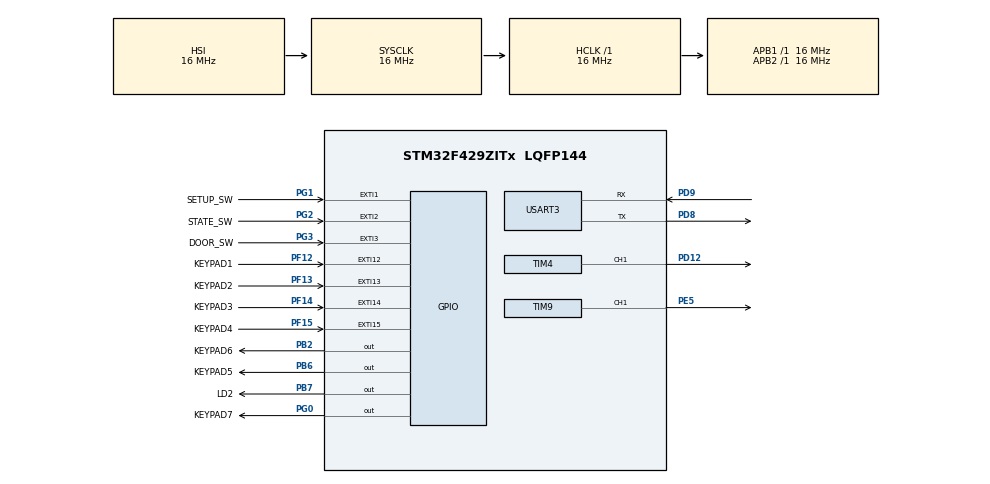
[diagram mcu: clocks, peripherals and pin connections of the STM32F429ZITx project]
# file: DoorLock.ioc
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Mcu.Family=STM32F4
Mcu.Name=STM32F429ZITx
Mcu.Package=LQFP144
NVIC.EXTI15_10_IRQn=true\:0\:0\:false\:true\:true\:2\:true\:true\:true
NVIC.EXTI1_IRQn=true\:0\:0\:false\:true\:true\:8\:true\:true\:true
NVIC.EXTI2_IRQn=true\:0\:0\:false\:true\:true\:5\:true\:true\:true
NVIC.EXTI3_IRQn=true\:0\:0\:false\:true\:true\:7\:true\:true\:true
NVIC.PriorityGroup=NVIC_PRIORITYGROUP_4
NVIC.TIM1_UP_TIM10_IRQn=true\:0\:0\:false\:true\:true\:9\:true\:true\:true
NVIC.TIM2_IRQn=true\:0\:0\:false\:true\:true\:4\:true\:true\:true
NVIC.TIM3_IRQn=true\:0\:0\:false\:true\:true\:1\:true\:true\:true
NVIC.TIM5_IRQn=true\:0\:0\:false\:true\:true\:6\:true\:true\:true
NVIC.USART3_IRQn=true\:0\:0\:false\:true\:true\:3\:true\:true\:true
PB2/BOOT1.GPIO_Label=KEYPAD6
PB2/BOOT1.GPIO_ModeDefaultOutputPP=GPIO_MODE_OUTPUT_PP
PB2/BOOT1.GPIO_PuPd=GPIO_NOPULL
PB2/BOOT1.PinState=GPIO_PIN_SET
PB2/BOOT1.Signal=GPIO_Output
PB6.GPIO_Label=KEYPAD5
PB6.PinState=GPIO_PIN_SET
PB6.Signal=GPIO_Output
PB7.GPIO_Label=LD2
PB7.Signal=GPIO_Output
PD12.Signal=S_TIM4_CH1
PD8.Mode=Asynchronous
PD8.Signal=USART3_TX
PD9.Mode=Asynchronous
PD9.Signal=USART3_RX
PE5.Signal=S_TIM9_CH1
PF12.GPIO_Label=KEYPAD1
PF12.GPIO_ModeDefaultEXTI=GPIO_MODE_IT_FALLING
PF12.GPIO_PuPd=GPIO_PULLUP
PF12.Signal=GPXTI12
PF13.GPIO_Label=KEYPAD2
PF13.GPIO_ModeDefaultEXTI=GPIO_MODE_IT_FALLING
PF13.GPIO_PuPd=GPIO_PULLUP
PF13.Signal=GPXTI13
PF14.GPIO_Label=KEYPAD3
PF14.GPIO_ModeDefaultEXTI=GPIO_MODE_IT_FALLING
PF14.GPIO_PuPd=GPIO_PULLUP
PF14.Signal=GPXTI14
PF15.GPIO_Label=KEYPAD4
PF15.GPIO_ModeDefaultEXTI=GPIO_MODE_IT_FALLING
PF15.GPIO_PuPd=GPIO_PULLUP
PF15.Signal=GPXTI15
PG0.GPIO_Label=KEYPAD7
PG0.PinState=GPIO_PIN_SET
PG0.Signal=GPIO_Output
PG1.GPIO_Label=SETUP_SW
PG1.GPIO_ModeDefaultEXTI=GPIO_MODE_IT_FALLING
PG1.GPIO_PuPd=GPIO_PULLUP
PG1.Signal=GPXTI1
PG2.GPIO_Label=STATE_SW
PG2.GPIO_ModeDefaultEXTI=GPIO_MODE_IT_RISING_FALLING
PG2.GPIO_PuPd=GPIO_PULLUP
PG2.Signal=GPXTI2
PG3.GPIO_Label=DOOR_SW
PG3.GPIO_ModeDefaultEXTI=GPIO_MODE_IT_FALLING
PG3.GPIO_PuPd=GPIO_PULLUP
PG3.Signal=GPXTI3
ProjectManager.HeapSize=0x200
ProjectManager.StackSize=0x400
ProjectManager.TargetToolchain=STM32CubeIDE
RCC.AHBFreq_Value=16000000
RCC.APB1Freq_Value=16000000
RCC.APB2Freq_Value=16000000
RCC.CortexFreq_Value=16000000
RCC.HSE_VALUE=25000000
RCC.HSI_VALUE=16000000
RCC.LSE_VALUE=32768
RCC.SYSCLKFreq_VALUE=16000000
RCC.VCOOutputFreq_Value=192000000
SH.S_TIM4_CH1.0=TIM4_CH1,PWM Generation1 CH1
SH.S_TIM9_CH1.0=TIM9_CH1,PWM Generation1 CH1
TIM10.Period=499
TIM10.Prescaler=15999
TIM2.Period=4999
TIM2.Prescaler=15999
TIM2.TIM_MasterOutputTrigger=TIM_TRGO_UPDATE
TIM3.Period=4999
TIM3.Prescaler=159
TIM3.TIM_MasterOutputTrigger=TIM_TRGO_UPDATE
TIM4.Channel-PWM\ Generation1\ CH1=TIM_CHANNEL_1
TIM4.Period=19999
TIM4.Prescaler=15
TIM4.Pulse-PWM\ Generation1\ CH1=499
TIM5.Period=1999
TIM5.Prescaler=15999
TIM5.TIM_MasterOutputTrigger=TIM_TRGO_UPDATE
TIM9.Channel-PWM\ Generation1\ CH1=TIM_CHANNEL_1
TIM9.Period=1999
TIM9.Prescaler=15
USART3.VirtualMode=VM_ASYNC
VP_TIM10_VS_ClockSourceINT.Mode=Enable_Timer
VP_TIM2_VS_ClockSourceINT.Mode=Internal
VP_TIM3_VS_ClockSourceINT.Mode=Internal
VP_TIM4_VS_ClockSourceINT.Mode=Internal
VP_TIM5_VS_ClockSourceINT.Mode=Internal
VP_TIM9_VS_ClockSourceINT.Mode=Internal
board=custom

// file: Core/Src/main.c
/* USER CODE BEGIN Header */
/**
  ******************************************************************************
  * @file           : main.c
  * @brief          : Main program body
  ******************************************************************************
  * @attention
  *
  * Copyright (c) 2024 STMicroelectronics.
  * All rights reserved.
  *
  * This software is licensed under terms that can be found in the LICENSE file
  * in the root directory of this software component.
  * If no LICENSE file comes with this software, it is provided AS-IS.
  *
  ******************************************************************************
  */
/* USER CODE END Header */
#include "main.h"

/* USER CODE BEGIN Includes */
#include <stdio.h>
#include <string.h>
/* USER CODE END Includes */

/* USER CODE BEGIN PTD */
#define STATE1	0
#define STATE2	1
#define STATE3	2

#define DEBOUNCE_DELAY	200
/* USER CODE END PTD */

TIM_HandleTypeDef htim2;
TIM_HandleTypeDef htim3;
TIM_HandleTypeDef htim4;
TIM_HandleTypeDef htim5;
TIM_HandleTypeDef htim9;
TIM_HandleTypeDef htim10;

UART_HandleTypeDef huart3;

/* USER CODE BEGIN PV */
uint8_t state = STATE1;
uint8_t chk = 0;

char tx_buf[50];
char num = '\0';

char password[9] = "12345678";
char input_pw[9] = "";
uint8_t pw_index = 0;

uint8_t is_door_lock = 1;
uint8_t is_door_open = 0;
uint8_t is_door_really_open = 0;
uint8_t setup_pw = 0;
char new_pw[9] = "";

//enum scale {
//	C5 = 1911,
//	E5 = 1517,
//	G5 = 1276
//};
//const uint16_t open_bell[] = {C5, E5, G5};
//uint16_t bell_index = 0;

//uint8_t rx_index = 0, rx_buf[20];
//uint8_t rx_data = 0, rx_complete = 0;
/* USER CODE END PV */

void SystemClock_Config(void);
static void MX_GPIO_Init(void);
static void MX_TIM3_Init(void);
static void MX_USART3_UART_Init(void);
static void MX_TIM4_Init(void);
static void MX_TIM2_Init(void);
static void MX_TIM5_Init(void);
static void MX_TIM9_Init(void);
static void MX_TIM10_Init(void);
static void MX_NVIC_Init(void);

int main(void)
{

  /* MCU Configuration--------------------------------------------------------*/

  /* Reset of all peripherals, Initializes the Flash interface and the Systick. */
  HAL_Init();

  /* Configure the system clock */
  SystemClock_Config();

  /* Initialize all configured peripherals */
  MX_GPIO_Init();
  MX_TIM3_Init();
  MX_USART3_UART_Init();
  MX_TIM4_Init();
  MX_TIM2_Init();
  MX_TIM5_Init();
  MX_TIM9_Init();
  MX_TIM10_Init();

  /* Initialize interrupts */
  MX_NVIC_Init();
  /* USER CODE BEGIN 2 */
  HAL_TIM_Base_Start_IT(&htim3);
  HAL_TIM_PWM_Start(&htim4, TIM_CHANNEL_1);
//  HAL_UART_Receive_IT(&huart3, &rx_data, 1);
  /* USER CODE END 2 */

  /* Infinite loop */
  /* USER CODE BEGIN WHILE */
  while (1)
  {
//	  if(rx_complete == 1) {
//		  rx_complete = 0;
//
//		  if(strstr((char*)rx_buf, "OPEN") != 0) {
//			  if(rx_buf[4] == '1') {
//				  is_door_open = 1;
//			  }
//			  else if(rx_buf[4] == '0') {
//				  is_door_open = 0;
//			  }
//		  }
//		  else if(strstr((char*)rx_buf, "LOCK") != 0) {
//			  if(rx_buf[4] = '1') {
//				  is_door_lock = 1;
//			  }
//			  else if(rx_buf[4] = '0') {
//				  is_door_lock = 0;
//			  }
//		  }
//	  }
    /* USER CODE END WHILE */

  }
}

void SystemClock_Config(void)
{
  RCC_OscInitTypeDef RCC_OscInitStruct = {0};
  RCC_ClkInitTypeDef RCC_ClkInitStruct = {0};

  /** Configure the main internal regulator output voltage
  */
  __HAL_RCC_PWR_CLK_ENABLE();
  __HAL_PWR_VOLTAGESCALING_CONFIG(PWR_REGULATOR_VOLTAGE_SCALE3);

  /** Initializes the RCC Oscillators according to the specified parameters
  * in the RCC_OscInitTypeDef structure.
  */
  RCC_OscInitStruct.OscillatorType = RCC_OSCILLATORTYPE_HSI;
  RCC_OscInitStruct.HSIState = RCC_HSI_ON;
  RCC_OscInitStruct.HSICalibrationValue = RCC_HSICALIBRATION_DEFAULT;
  RCC_OscInitStruct.PLL.PLLState = RCC_PLL_NONE;
  if (HAL_RCC_OscConfig(&RCC_OscInitStruct) != HAL_OK)
  {
    Error_Handler();
  }

  /** Initializes the CPU, AHB and APB buses clocks
  */
  RCC_ClkInitStruct.ClockType = RCC_CLOCKTYPE_HCLK|RCC_CLOCKTYPE_SYSCLK
                              |RCC_CLOCKTYPE_PCLK1|RCC_CLOCKTYPE_PCLK2;
  RCC_ClkInitStruct.SYSCLKSource = RCC_SYSCLKSOURCE_HSI;
  RCC_ClkInitStruct.AHBCLKDivider = RCC_SYSCLK_DIV1;
  RCC_ClkInitStruct.APB1CLKDivider = RCC_HCLK_DIV1;
  RCC_ClkInitStruct.APB2CLKDivider = RCC_HCLK_DIV1;

  if (HAL_RCC_ClockConfig(&RCC_ClkInitStruct, FLASH_LATENCY_0) != HAL_OK)
  {
    Error_Handler();
  }
}

/**
  * @brief NVIC Configuration.
  * @retval None
  */
static void MX_NVIC_Init(void)
{
  /* TIM3_IRQn interrupt configuration */
  HAL_NVIC_SetPriority(TIM3_IRQn, 0, 0);
  HAL_NVIC_EnableIRQ(TIM3_IRQn);
  /* EXTI15_10_IRQn interrupt configuration */
  HAL_NVIC_SetPriority(EXTI15_10_IRQn, 0, 0);
  HAL_NVIC_EnableIRQ(EXTI15_10_IRQn);
  /* USART3_IRQn interrupt configuration */
  HAL_NVIC_SetPriority(USART3_IRQn, 0, 0);
  HAL_NVIC_EnableIRQ(USART3_IRQn);
  /* TIM2_IRQn interrupt configuration */
  HAL_NVIC_SetPriority(TIM2_IRQn, 0, 0);
  HAL_NVIC_EnableIRQ(TIM2_IRQn);
  /* EXTI2_IRQn interrupt configuration */
  HAL_NVIC_SetPriority(EXTI2_IRQn, 0, 0);
  HAL_NVIC_EnableIRQ(EXTI2_IRQn);
  /* TIM5_IRQn interrupt configuration */
  HAL_NVIC_SetPriority(TIM5_IRQn, 0, 0);
  HAL_NVIC_EnableIRQ(TIM5_IRQn);
  /* EXTI3_IRQn interrupt configuration */
  HAL_NVIC_SetPriority(EXTI3_IRQn, 0, 0);
  HAL_NVIC_EnableIRQ(EXTI3_IRQn);
  /* EXTI1_IRQn interrupt configuration */
  HAL_NVIC_SetPriority(EXTI1_IRQn, 0, 0);
  HAL_NVIC_EnableIRQ(EXTI1_IRQn);
  /* TIM1_UP_TIM10_IRQn interrupt configuration */
  HAL_NVIC_SetPriority(TIM1_UP_TIM10_IRQn, 0, 0);
  HAL_NVIC_EnableIRQ(TIM1_UP_TIM10_IRQn);
}

static void MX_TIM2_Init(void)
{

  TIM_ClockConfigTypeDef sClockSourceConfig = {0};
  TIM_MasterConfigTypeDef sMasterConfig = {0};

  htim2.Instance = TIM2;
  htim2.Init.Prescaler = 15999;
  htim2.Init.CounterMode = TIM_COUNTERMODE_UP;
  htim2.Init.Period = 4999;
  htim2.Init.ClockDivision = TIM_CLOCKDIVISION_DIV1;
  htim2.Init.AutoReloadPreload = TIM_AUTORELOAD_PRELOAD_DISABLE;
  if (HAL_TIM_Base_Init(&htim2) != HAL_OK)
  {
    Error_Handler();
  }
  sClockSourceConfig.ClockSource = TIM_CLOCKSOURCE_INTERNAL;
  if (HAL_TIM_ConfigClockSource(&htim2, &sClockSourceConfig) != HAL_OK)
  {
    Error_Handler();
  }
  sMasterConfig.MasterOutputTrigger = TIM_TRGO_UPDATE;
  sMasterConfig.MasterSlaveMode = TIM_MASTERSLAVEMODE_DISABLE;
  if (HAL_TIMEx_MasterConfigSynchronization(&htim2, &sMasterConfig) != HAL_OK)
  {
    Error_Handler();
  }

}

static void MX_TIM3_Init(void)
{

  TIM_ClockConfigTypeDef sClockSourceConfig = {0};
  TIM_MasterConfigTypeDef sMasterConfig = {0};

  htim3.Instance = TIM3;
  htim3.Init.Prescaler = 159;
  htim3.Init.CounterMode = TIM_COUNTERMODE_UP;
  htim3.Init.Period = 4999;
  htim3.Init.ClockDivision = TIM_CLOCKDIVISION_DIV1;
  htim3.Init.AutoReloadPreload = TIM_AUTORELOAD_PRELOAD_DISABLE;
  if (HAL_TIM_Base_Init(&htim3) != HAL_OK)
  {
    Error_Handler();
  }
  sClockSourceConfig.ClockSource = TIM_CLOCKSOURCE_INTERNAL;
  if (HAL_TIM_ConfigClockSource(&htim3, &sClockSourceConfig) != HAL_OK)
  {
    Error_Handler();
  }
  sMasterConfig.MasterOutputTrigger = TIM_TRGO_UPDATE;
  sMasterConfig.MasterSlaveMode = TIM_MASTERSLAVEMODE_DISABLE;
  if (HAL_TIMEx_MasterConfigSynchronization(&htim3, &sMasterConfig) != HAL_OK)
  {
    Error_Handler();
  }

}

static void MX_TIM4_Init(void)
{

  TIM_ClockConfigTypeDef sClockSourceConfig = {0};
  TIM_MasterConfigTypeDef sMasterConfig = {0};
  TIM_OC_InitTypeDef sConfigOC = {0};

  htim4.Instance = TIM4;
  htim4.Init.Prescaler = 15;
  htim4.Init.CounterMode = TIM_COUNTERMODE_UP;
  htim4.Init.Period = 19999;
  htim4.Init.ClockDivision = TIM_CLOCKDIVISION_DIV1;
  htim4.Init.AutoReloadPreload = TIM_AUTORELOAD_PRELOAD_DISABLE;
  if (HAL_TIM_Base_Init(&htim4) != HAL_OK)
  {
    Error_Handler();
  }
  sClockSourceConfig.ClockSource = TIM_CLOCKSOURCE_INTERNAL;
  if (HAL_TIM_ConfigClockSource(&htim4, &sClockSourceConfig) != HAL_OK)
  {
    Error_Handler();
  }
  if (HAL_TIM_PWM_Init(&htim4) != HAL_OK)
  {
    Error_Handler();
  }
  sMasterConfig.MasterOutputTrigger = TIM_TRGO_RESET;
  sMasterConfig.MasterSlaveMode = TIM_MASTERSLAVEMODE_DISABLE;
  if (HAL_TIMEx_MasterConfigSynchronization(&htim4, &sMasterConfig) != HAL_OK)
  {
    Error_Handler();
  }
  sConfigOC.OCMode = TIM_OCMODE_PWM1;
  sConfigOC.Pulse = 499;
  sConfigOC.OCPolarity = TIM_OCPOLARITY_HIGH;
  sConfigOC.OCFastMode = TIM_OCFAST_DISABLE;
  if (HAL_TIM_PWM_ConfigChannel(&htim4, &sConfigOC, TIM_CHANNEL_1) != HAL_OK)
  {
    Error_Handler();
  }
  HAL_TIM_MspPostInit(&htim4);

}

static void MX_TIM5_Init(void)
{

  TIM_ClockConfigTypeDef sClockSourceConfig = {0};
  TIM_MasterConfigTypeDef sMasterConfig = {0};

  htim5.Instance = TIM5;
  htim5.Init.Prescaler = 15999;
  htim5.Init.CounterMode = TIM_COUNTERMODE_UP;
  htim5.Init.Period = 1999;
  htim5.Init.ClockDivision = TIM_CLOCKDIVISION_DIV1;
  htim5.Init.AutoReloadPreload = TIM_AUTORELOAD_PRELOAD_DISABLE;
  if (HAL_TIM_Base_Init(&htim5) != HAL_OK)
  {
    Error_Handler();
  }
  sClockSourceConfig.ClockSource = TIM_CLOCKSOURCE_INTERNAL;
  if (HAL_TIM_ConfigClockSource(&htim5, &sClockSourceConfig) != HAL_OK)
  {
    Error_Handler();
  }
  sMasterConfig.MasterOutputTrigger = TIM_TRGO_UPDATE;
  sMasterConfig.MasterSlaveMode = TIM_MASTERSLAVEMODE_DISABLE;
  if (HAL_TIMEx_MasterConfigSynchronization(&htim5, &sMasterConfig) != HAL_OK)
  {
    Error_Handler();
  }

}

static void MX_TIM9_Init(void)
{

  TIM_ClockConfigTypeDef sClockSourceConfig = {0};
  TIM_OC_InitTypeDef sConfigOC = {0};

  htim9.Instance = TIM9;
  htim9.Init.Prescaler = 15;
  htim9.Init.CounterMode = TIM_COUNTERMODE_UP;
  htim9.Init.Period = 1999;
  htim9.Init.ClockDivision = TIM_CLOCKDIVISION_DIV1;
  htim9.Init.AutoReloadPreload = TIM_AUTORELOAD_PRELOAD_DISABLE;
  if (HAL_TIM_Base_Init(&htim9) != HAL_OK)
  {
    Error_Handler();
  }
  sClockSourceConfig.ClockSource = TIM_CLOCKSOURCE_INTERNAL;
  if (HAL_TIM_ConfigClockSource(&htim9, &sClockSourceConfig) != HAL_OK)
  {
    Error_Handler();
  }
  if (HAL_TIM_PWM_Init(&htim9) != HAL_OK)
  {
    Error_Handler();
  }
  sConfigOC.OCMode = TIM_OCMODE_PWM1;
  sConfigOC.Pulse = 0;
  sConfigOC.OCPolarity = TIM_OCPOLARITY_HIGH;
  sConfigOC.OCFastMode = TIM_OCFAST_DISABLE;
  if (HAL_TIM_PWM_ConfigChannel(&htim9, &sConfigOC, TIM_CHANNEL_1) != HAL_OK)
  {
    Error_Handler();
  }
  HAL_TIM_MspPostInit(&htim9);

}

static void MX_TIM10_Init(void)
{

  htim10.Instance = TIM10;
  htim10.Init.Prescaler = 15999;
  htim10.Init.CounterMode = TIM_COUNTERMODE_UP;
  htim10.Init.Period = 499;
  htim10.Init.ClockDivision = TIM_CLOCKDIVISION_DIV1;
  htim10.Init.AutoReloadPreload = TIM_AUTORELOAD_PRELOAD_DISABLE;
  if (HAL_TIM_Base_Init(&htim10) != HAL_OK)
  {
    Error_Handler();
  }

}

static void MX_USART3_UART_Init(void)
{

  huart3.Instance = USART3;
  huart3.Init.BaudRate = 115200;
  huart3.Init.WordLength = UART_WORDLENGTH_8B;
  huart3.Init.StopBits = UART_STOPBITS_1;
  huart3.Init.Parity = UART_PARITY_NONE;
  huart3.Init.Mode = UART_MODE_TX_RX;
  huart3.Init.HwFlowCtl = UART_HWCONTROL_NONE;
  huart3.Init.OverSampling = UART_OVERSAMPLING_16;
  if (HAL_UART_Init(&huart3) != HAL_OK)
  {
    Error_Handler();
  }

}

static void MX_GPIO_Init(void)
{
  GPIO_InitTypeDef GPIO_InitStruct = {0};

  /* GPIO Ports Clock Enable */
  __HAL_RCC_GPIOE_CLK_ENABLE();
  __HAL_RCC_GPIOB_CLK_ENABLE();
  __HAL_RCC_GPIOF_CLK_ENABLE();
  __HAL_RCC_GPIOG_CLK_ENABLE();
  __HAL_RCC_GPIOD_CLK_ENABLE();

  /*Configure GPIO pin Output Level */
  HAL_GPIO_WritePin(GPIOB, KEYPAD6_Pin|KEYPAD5_Pin, GPIO_PIN_SET);

  /*Configure GPIO pin Output Level */
  HAL_GPIO_WritePin(KEYPAD7_GPIO_Port, KEYPAD7_Pin, GPIO_PIN_SET);

  /*Configure GPIO pin Output Level */
  HAL_GPIO_WritePin(LD2_GPIO_Port, LD2_Pin, GPIO_PIN_RESET);

  /*Configure GPIO pins : KEYPAD6_Pin KEYPAD5_Pin LD2_Pin */
  GPIO_InitStruct.Pin = KEYPAD6_Pin|KEYPAD5_Pin|LD2_Pin;
  GPIO_InitStruct.Mode = GPIO_MODE_OUTPUT_PP;
  GPIO_InitStruct.Pull = GPIO_NOPULL;
  GPIO_InitStruct.Speed = GPIO_SPEED_FREQ_LOW;
  HAL_GPIO_Init(GPIOB, &GPIO_InitStruct);

  /*Configure GPIO pins : KEYPAD1_Pin KEYPAD2_Pin KEYPAD3_Pin KEYPAD4_Pin */
  GPIO_InitStruct.Pin = KEYPAD1_Pin|KEYPAD2_Pin|KEYPAD3_Pin|KEYPAD4_Pin;
  GPIO_InitStruct.Mode = GPIO_MODE_IT_FALLING;
  GPIO_InitStruct.Pull = GPIO_PULLUP;
  HAL_GPIO_Init(GPIOF, &GPIO_InitStruct);

  /*Configure GPIO pin : KEYPAD7_Pin */
  GPIO_InitStruct.Pin = KEYPAD7_Pin;
  GPIO_InitStruct.Mode = GPIO_MODE_OUTPUT_PP;
  GPIO_InitStruct.Pull = GPIO_NOPULL;
  GPIO_InitStruct.Speed = GPIO_SPEED_FREQ_LOW;
  HAL_GPIO_Init(KEYPAD7_GPIO_Port, &GPIO_InitStruct);

  /*Configure GPIO pins : SETUP_SW_Pin DOOR_SW_Pin */
  GPIO_InitStruct.Pin = SETUP_SW_Pin|DOOR_SW_Pin;
  GPIO_InitStruct.Mode = GPIO_MODE_IT_FALLING;
  GPIO_InitStruct.Pull = GPIO_PULLUP;
  HAL_GPIO_Init(GPIOG, &GPIO_InitStruct);

  /*Configure GPIO pin : STATE_SW_Pin */
  GPIO_InitStruct.Pin = STATE_SW_Pin;
  GPIO_InitStruct.Mode = GPIO_MODE_IT_RISING_FALLING;
  GPIO_InitStruct.Pull = GPIO_PULLUP;
  HAL_GPIO_Init(STATE_SW_GPIO_Port, &GPIO_InitStruct);

}

/* USER CODE BEGIN 4 */
void HAL_TIM_PeriodElapsedCallback(TIM_HandleTypeDef *htim)
{
	GPIO_PinState KEYPAD1, KEYPAD2, KEYPAD3, KEYPAD4, KEYPAD5, KEYPAD6, KEYPAD7;

	if(htim->Instance == TIM3) {
		if(chk == 0) {		// 스캔
			if(state == STATE1) {
				KEYPAD5 = 0; KEYPAD6 = 1; KEYPAD7 = 1;
				state = STATE2;
			}
			else if(state == STATE2) {
				KEYPAD5 = 1; KEYPAD6 = 0; KEYPAD7 = 1;
				state = STATE3;
			}
			else if(state == STATE3) {
				KEYPAD5 = 1; KEYPAD6 = 1; KEYPAD7 = 0;
				state = STATE1;
			}

			HAL_GPIO_WritePin(KEYPAD5_GPIO_Port, KEYPAD5_Pin, KEYPAD5);
			HAL_GPIO_WritePin(KEYPAD6_GPIO_Port, KEYPAD6_Pin, KEYPAD6);
			HAL_GPIO_WritePin(KEYPAD7_GPIO_Port, KEYPAD7_Pin, KEYPAD7);
		}
		else {
			KEYPAD1 = HAL_GPIO_ReadPin(KEYPAD1_GPIO_Port, KEYPAD1_Pin);
			KEYPAD2 = HAL_GPIO_ReadPin(KEYPAD2_GPIO_Port, KEYPAD2_Pin);
			KEYPAD3 = HAL_GPIO_ReadPin(KEYPAD3_GPIO_Port, KEYPAD3_Pin);
			KEYPAD4 = HAL_GPIO_ReadPin(KEYPAD4_GPIO_Port, KEYPAD4_Pin);

			if(KEYPAD1 == 1 && KEYPAD2 == 1 && KEYPAD3 == 1 && KEYPAD4 == 1) {	// 키가 눌리지 않았을 때
				chk = 0;
			}
		}
	}
	else if(htim->Instance == TIM2) {
		if(is_door_lock == 0 && is_door_open == 0) {
			is_door_lock = 1;
			TIM4->CCR1 = 499;
			sprintf(tx_buf, "\n\r시간 초과로 문이 닫혔습니다.\n\r");
			HAL_UART_Transmit_IT(&huart3, (uint8_t*)tx_buf, strlen(tx_buf));
			HAL_GPIO_WritePin(LD2_GPIO_Port, LD2_Pin, GPIO_PIN_RESET);
		}
		HAL_TIM_Base_Stop_IT(&htim2);
	}
	else if(htim->Instance == TIM5) {
		GPIO_PinState STATE_SW = HAL_GPIO_ReadPin(STATE_SW_GPIO_Port, STATE_SW_Pin);
		if(is_door_open == 1) {
			if(STATE_SW == 0) {
				is_door_really_open = 1;
				sprintf(tx_buf, "\n\r문이 열렸습니다.\n\r");
				HAL_GPIO_WritePin(LD2_GPIO_Port, LD2_Pin, GPIO_PIN_SET);
			}
			else {
				sprintf(tx_buf, "\n\r문이 열리지 않았습니다.\n\r");
			}
		}
		else {
			if(STATE_SW == 1) {
				is_door_really_open = 0;
				sprintf(tx_buf, "\n\r문이 닫혔습니다.\n\r");
				is_door_lock = 1;	// 문 잠금장치 ON
				TIM4->CCR1 = 499;
				HAL_GPIO_WritePin(LD2_GPIO_Port, LD2_Pin, GPIO_PIN_RESET);
			}
			else {
				sprintf(tx_buf, "\n\r문이 닫히지 않았습니다.\n\r");
			}
		}
		HAL_UART_Transmit_IT(&huart3, (uint8_t*)tx_buf, strlen(tx_buf));
		HAL_TIM_Base_Stop_IT(&htim5);
	}
}

void HAL_GPIO_EXTI_Callback(uint16_t GPIO_Pin)
{
	static uint32_t last_interrupt_time;	// 값 유지, 자동으로 0으로 초기화
	uint32_t current_time = HAL_GetTick();

	if((current_time - last_interrupt_time) < DEBOUNCE_DELAY) {
		return;
	}
	last_interrupt_time = current_time;

	chk = 1;	// 스캔 중단하고 눌린 키의 상태 확인

	if(GPIO_Pin == KEYPAD1_Pin) {
		if(state == STATE2) num = '1';
		else if(state == STATE3) num = '2';
		else if(state == STATE1) num = '3';
	}
	else if(GPIO_Pin == KEYPAD2_Pin) {
		if(state == STATE2) num = '4';
		else if(state == STATE3) num = '5';
		else if(state == STATE1) num = '6';
	}
	else if(GPIO_Pin == KEYPAD3_Pin) {
		if(state == STATE2) num = '7';
		else if(state == STATE3) num = '8';
		else if(state == STATE1) num = '9';
	}
	else if(GPIO_Pin == KEYPAD4_Pin) {
		if(state == STATE2) num = '*';
		else if(state == STATE3) num = '0';
		else if(state == STATE1) num = '#';
	}

	if(is_door_open == 1 && GPIO_Pin == SETUP_SW_Pin) {
		setup_pw = 1;
		pw_index = 0;
		sprintf(tx_buf, "\n\r새 비밀번호를 입력하세요.\n\r");
		HAL_UART_Transmit(&huart3, (uint8_t*)tx_buf, strlen(tx_buf), 100);
	}

	if(GPIO_Pin == KEYPAD1_Pin || GPIO_Pin == KEYPAD2_Pin || GPIO_Pin == KEYPAD3_Pin || GPIO_Pin == KEYPAD4_Pin) {
		if(setup_pw == 1) {
			if(num != '*') {
				if(pw_index < 8) {
					new_pw[pw_index++] = num;
					sprintf(tx_buf, "%c", num);
					HAL_UART_Transmit_IT(&huart3, (uint8_t*)tx_buf, strlen(tx_buf));
				}
				else {
					sprintf(tx_buf, "\n\r다시 입력하세요.\n\r");
					HAL_UART_Transmit_IT(&huart3, (uint8_t*)tx_buf, strlen(tx_buf));
					pw_index = 0;
					memset(new_pw, 0, sizeof(new_pw));
				}
			}
			else {
				new_pw[pw_index] = '\0';
				strcpy(password, new_pw);		// 기존 비밀번호를 새 비밀번호로 교체
				sprintf(tx_buf, "\n\r비밀번호가 설정되었습니다.\n\r");
				HAL_UART_Transmit(&huart3, (uint8_t*)tx_buf, strlen(tx_buf), 100);
				setup_pw = 0;	// 비밀번호 설정 모드 비활성화
				pw_index = 0;
			}
		}
		else {
			if(num != '*') {
				if(pw_index < 8) {
					input_pw[pw_index++] = num;
					sprintf(tx_buf, "%c", num);
					HAL_UART_Transmit_IT(&huart3, (uint8_t*)tx_buf, strlen(tx_buf));
				}
				else {
					sprintf(tx_buf, "\n\r비밀번호가 틀렸습니다.\n\r");
					HAL_UART_Transmit_IT(&huart3, (uint8_t*)tx_buf, strlen(tx_buf));
					pw_index = 0;
					memset(input_pw, 0, sizeof(input_pw));
				}
			}
			else {
				input_pw[pw_index] = '\0';

				if(strcmp(input_pw, password) == 0) {
					is_door_lock = 0;		// 문 열림 활성화
					HAL_TIM_Base_Start_IT(&htim2);
					TIM4->CCR1 = 1499;
					sprintf(tx_buf, "\n\r비밀번호가 맞았습니다.\n\r");
				}
				else {
					pw_index = 0;
					memset(input_pw, 0, sizeof(input_pw));
					sprintf(tx_buf, "\n\r비밀번호가 틀렸습니다.\n\r");
				}
				HAL_UART_Transmit_IT(&huart3, (uint8_t*)tx_buf, strlen(tx_buf));
				pw_index = 0;
			}
		}
	}

	if(GPIO_Pin == STATE_SW_Pin) {
		GPIO_PinState STATE_SW = HAL_GPIO_ReadPin(STATE_SW_GPIO_Port, STATE_SW_Pin);

		if(is_door_lock == 0) {		// 문 잠금장치 OFF
			if(STATE_SW == 0) {		// 토글스위치 ON
				is_door_open = 1;	// 문 열림
				HAL_TIM_Base_Start_IT(&htim5);
			}
			else {		// 토글스위치 OFF
				is_door_open = 0;	// 문 닫힘
				HAL_TIM_Base_Start_IT(&htim5);
			}
			HAL_UART_Transmit_IT(&huart3, (uint8_t*)tx_buf, strlen(tx_buf));
		}
		else {		// 문 잠금장치 ON
			sprintf(tx_buf, "\n\r문이 잠겨있습니다.\n\r");
			HAL_UART_Transmit_IT(&huart3, (uint8_t*)tx_buf, strlen(tx_buf));
		}
	}

	if(GPIO_Pin == DOOR_SW_Pin) {
		is_door_lock = !is_door_lock;
		if(is_door_lock == 0) {
			HAL_TIM_Base_Start_IT(&htim2);
			TIM4->CCR1 = 1499;
			sprintf(tx_buf, "\n\rDOOR_SW ON\n\r");
		}
		else {
			TIM4->CCR1 = 499;
			sprintf(tx_buf, "\n\rDOOR_SW OFF\n\r");
		}
		HAL_UART_Transmit_IT(&huart3, (uint8_t*)tx_buf, strlen(tx_buf));
	}
}

//void HAL_UART_RxCpltCallback(UART_HandleTypeDef *huart)
//{
//	if(huart->Instance == USART3) {
//		uint8_t ch;
//		ch = rx_data;
//
//		if(ch == '\n' || ch == '\r') {
//			rx_buf[rx_index] = 0;
//			rx_index = 0;
//			rx_complete = 1;
//
//			char *str = "\r\n>> ";
//			HAL_UART_Transmit_IT(&huart3, (uint8_t*)str, strlen(str));
//		}
//		else if(ch == '\b') {
//			if(rx_index != 0) {
//				rx_index--;
//				char *str = "\b \b";
//				HAL_UART_Transmit_IT(&huart3, (uint8_t*)str, strlen(str));
//			}
//		}
//		else {
//			rx_buf[rx_index++] = ch;
//			HAL_UART_Transmit_IT(&huart3, &ch, 1);		// 하나씩 보냄
//		}
//		HAL_UART_Receive_IT(&huart3, &rx_data, 1);		// 하나씩 입력받음
//	}
//}
/* USER CODE END 4 */

void Error_Handler(void)
{
  __disable_irq();
  while (1)
  {
  }
}
